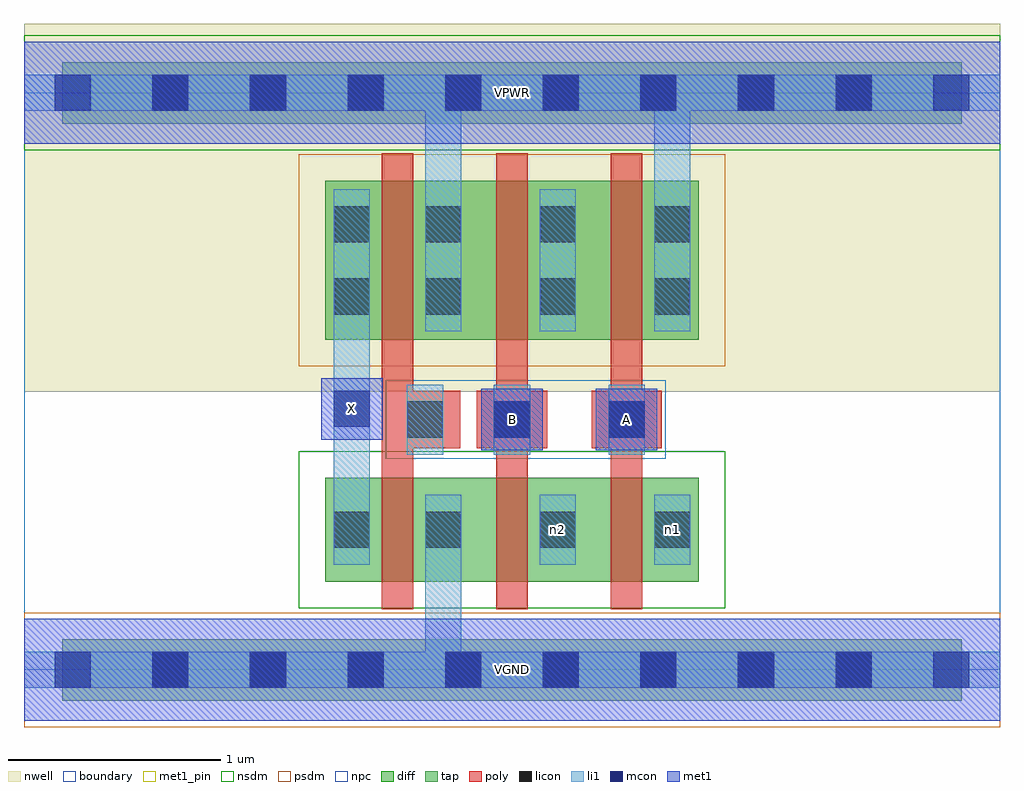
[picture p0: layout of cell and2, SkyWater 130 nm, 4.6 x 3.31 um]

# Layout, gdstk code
import gdstk
lib = gdstk.Library(unit=1e-6, precision=1e-09)
def R(c, l, rs):  # rectangles x0, y0, x1, y1
    for r in rs: c.add(gdstk.rectangle(r[:2], r[2:], *l))
def A(c, l, x, y, w, h, nx, ny, dx, dy):  # array of equal rectangles
    R(c, l, [(x+i*dx, y+j*dy, x+i*dx+w, y+j*dy+h) for i in range(nx) for j in range(ny)])
nwell = (64, 20)
diff = (65, 20)
tap = (65, 44)
poly = (66, 20)
licon = (66, 44)
li1 = (67, 20)
mcon = (67, 44)
met1_pin = (68, 16)
met1 = (68, 20)
nsdm = (93, 44)
psdm = (94, 20)
npc = (95, 20)
boundary = (235, 4)

and2 = lib.new_cell('and2')
R(and2, nwell, [(0,1.31,4.6,3.045)])
R(and2, diff, [(1.42,0.415,3.18,0.905), (1.42,1.555,3.18,2.305)])
R(and2, tap, [(0.18,-0.145,4.42,0.145), (0.18,2.575,4.42,2.865)])
A(and2, poly, 1.685, 0.285, 0.15, 2.15, 3, 1, 0.54, 0)
R(and2, poly, [(1.725,1.045,2.055,1.315), (2.135,1.045,2.465,1.315), (2.675,1.045,3.005,1.315)])
A(and2, licon, 0.605, -0.085, 0.17, 0.17, 8, 2, 0.46, 2.72)
A(and2, licon, 1.89, 0.575, 0.17, 0.17, 3, 2, 0.54, 1.1)
A(and2, licon, 1.89, 2.015, 0.17, 0.17, 3, 1, 0.54, 0)
R(and2, licon, [(1.46,0.575,1.63,0.745), (1.805,1.095,1.975,1.265), (2.215,1.095,2.385,1.265), (2.755,1.095,2.925,1.265), (1.46,1.675,1.63,1.845), (1.46,2.015,1.63,2.185)])
A(and2, li1, 1.89, 0.495, 0.17, 0.33, 3, 1, 0.54, 0)
A(and2, li1, 1.89, 1.595, 0.17, 0.67, 3, 1, 0.54, 0)
R(and2, li1, [(0,-0.085,4.6,0.085), (1.89,-0.085,2.06,0.825), (1.46,0.495,1.63,0.825), (1.46,0.495,1.63,2.265), (1.805,1.015,1.975,1.345), (2.215,1.015,2.385,1.345), (2.755,1.015,2.925,1.345), (1.46,1.595,1.63,2.265), (1.89,1.595,2.06,2.805), (2.97,1.595,3.14,2.805), (0,2.635,4.6,2.805)])
A(and2, mcon, 0.145, -0.085, 0.17, 0.17, 10, 2, 0.46, 2.72)
R(and2, mcon, [(2.215,1.095,2.385,1.265), (2.755,1.095,2.925,1.265), (1.46,1.145,1.63,1.315)])
R(and2, met1_pin, [(0,-0.24,4.6,0.24), (2.155,1.035,2.445,1.325), (2.695,1.035,2.985,1.325), (1.4,1.085,1.69,1.375), (0,2.48,4.6,2.96)])
R(and2, met1, [(0,-0.24,4.6,0.24), (2.155,1.035,2.445,1.325), (2.695,1.035,2.985,1.325), (1.4,1.085,1.69,1.375), (0,2.48,4.6,2.96)])
R(and2, nsdm, [(1.295,0.29,3.305,1.03), (0,2.45,4.6,2.99)])
R(and2, psdm, [(0,-0.27,4.6,0.27), (1.295,1.43,3.305,2.43)])
R(and2, npc, [(1.705,0.995,3.025,1.365)])
R(and2, boundary, [(0,0,4.6,2.72)])
and2.add(gdstk.Label('n2', (2.515,0.66), layer=67, texttype=5))
and2.add(gdstk.Label('n1', (3.055,0.66), layer=67, texttype=5))
and2.add(gdstk.Label('A', (2.84,1.18), layer=68, texttype=5))
and2.add(gdstk.Label('B', (2.3,1.18), layer=68, texttype=5))
and2.add(gdstk.Label('X', (1.545,1.23), layer=68, texttype=5))
and2.add(gdstk.Label('VPWR', (2.3,2.72), layer=68, texttype=5))
and2.add(gdstk.Label('VGND', (2.3,0), layer=68, texttype=5))
and2.add(gdstk.Label('A', (2.84,1.18), layer=68, texttype=16))
and2.add(gdstk.Label('B', (2.3,1.18), layer=68, texttype=16))
and2.add(gdstk.Label('X', (1.545,1.23), layer=68, texttype=16))
and2.add(gdstk.Label('VPWR', (2.3,2.72), layer=68, texttype=16))
and2.add(gdstk.Label('VGND', (2.3,0), layer=68, texttype=16))

lib.write_gds('and2.gds')
